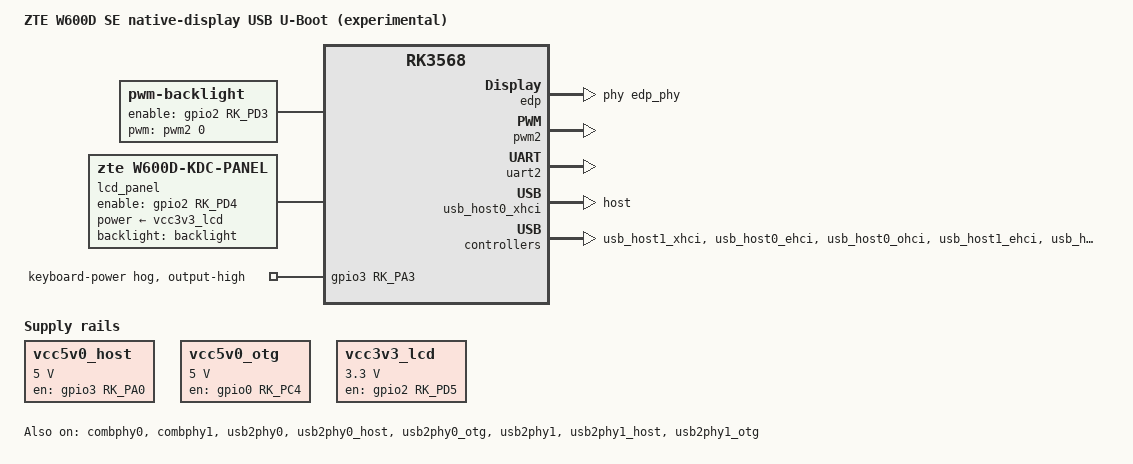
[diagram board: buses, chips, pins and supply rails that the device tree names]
/dts-v1/;
#include <dt-bindings/gpio/gpio.h>
#include <dt-bindings/pinctrl/rockchip.h>
#include "rk3568.dtsi"

/ {
	model = "ZTE W600D SE native-display USB U-Boot (experimental)";
	compatible = "zte,w600d-se", "rockchip,rk3568";

	chosen {
		stdout-path = "serial2:115200n8";
	};

	reserved-memory {
		#address-cells = <2>;
		#size-cells = <2>;
		ranges;

		optee@8400000 {
			reg = <0 0x08400000 0 0x01000000>;
			no-map;
		};
	};

	vcc5v0_host: regulator-vcc5v0-host {
		compatible = "regulator-fixed";
		regulator-name = "vcc5v0_host";
		regulator-min-microvolt = <5000000>;
		regulator-max-microvolt = <5000000>;
		gpio = <&gpio3 RK_PA0 GPIO_ACTIVE_HIGH>;
		enable-active-high;
		regulator-always-on;
		pinctrl-names = "default";
		pinctrl-0 = <&vcc5v0_host_en>;
	};

	vcc5v0_otg: regulator-vcc5v0-otg {
		compatible = "regulator-fixed";
		regulator-name = "vcc5v0_otg";
		regulator-min-microvolt = <5000000>;
		regulator-max-microvolt = <5000000>;
		gpio = <&gpio0 RK_PC4 GPIO_ACTIVE_HIGH>;
		enable-active-high;
		regulator-always-on;
		pinctrl-names = "default";
		pinctrl-0 = <&vcc5v0_otg_en>;
	};

	vcc3v3_lcd: regulator-vcc3v3-lcd {
		compatible = "regulator-fixed";
		regulator-name = "vcc3v3_lcd";
		regulator-min-microvolt = <3300000>;
		regulator-max-microvolt = <3300000>;
		gpio = <&gpio2 RK_PD5 GPIO_ACTIVE_HIGH>;
		enable-active-high;
		pinctrl-names = "default";
		pinctrl-0 = <&lcd_power_en>;
	};

	backlight: backlight {
		compatible = "pwm-backlight";
		pwms = <&pwm2 0 25000 0>;
		enable-gpios = <&gpio2 RK_PD3 GPIO_ACTIVE_HIGH>;
		brightness-levels = <0 200 255>;
		default-brightness-level = <1>;
		pinctrl-names = "default";
		pinctrl-0 = <&backlight_en>;
	};

	lcd_panel: panel {
		compatible = "zte,w600d-kdc-panel";
		power-supply = <&vcc3v3_lcd>;
		enable-gpios = <&gpio2 RK_PD4 GPIO_ACTIVE_HIGH>;
		backlight = <&backlight>;
		pinctrl-names = "default";
		pinctrl-0 = <&lcd_enable>;

		display-timings {
			native-mode = <&panel_timing>;
			panel_timing: timing {
				clock-frequency = <141020000>;
				hactive = <1920>;
				vactive = <1080>;
				hfront-porch = <48>;
				hsync-len = <32>;
				hback-porch = <80>;
				vfront-porch = <10>;
				vsync-len = <12>;
				vback-porch = <28>;
				hsync-active = <0>;
				vsync-active = <0>;
			};
		};
	};

	edp_phy: edp-phy@fdcb0000 {
		compatible = "rockchip,rk3568-edp-phy";
		reg = <0 0xfdcb0000 0 0x8000>;
		resets = <&cru SRST_P_EDPPHY_GRF>;
		reset-names = "apb";
		#phy-cells = <0>;
	};

	edp: edp@fe0c0000 {
		compatible = "rockchip,rk3568-edp";
		reg = <0 0xfe0c0000 0 0x10000>;
		resets = <&cru SRST_EDP_24M>, <&cru SRST_P_EDP_CTRL>;
		reset-names = "dp", "apb";
		phys = <&edp_phy>;
		phy-names = "dp";
		rockchip,panel = <&lcd_panel>;
		force-hpd;
	};

	native_display: display@fe040000 {
		compatible = "zte,w600d-vop2-native";
		reg = <0 0xfe040000 0 0x3000>,
		      <0 0xfdd20000 0 0x1000>,
		      <0 0xfdd00000 0 0x1000>,
		      <0 0xfdd90000 0 0x1000>,
		      <0 0xfe043e00 0 0x100>,
		      <0 0xfe043f00 0 0x100>;
		reg-names = "vop", "cru", "pmucru", "pmu", "iommu0", "iommu1";
		clocks = <&cru PLL_VPLL>, <&cru DCLK_VOP1>, <&cru ACLK_VOP>;
		clock-names = "vpll", "dclk", "aclk";
		resets = <&cru SRST_A_VOP_NIU>, <&cru SRST_A_VOP>,
			 <&cru SRST_H_VOP>, <&cru SRST_VOP0>,
			 <&cru SRST_VOP1>, <&cru SRST_VOP2>;
		rockchip,panel = <&lcd_panel>;
		rockchip,edp = <&edp>;
	};
};

&gpio3 {
	pinctrl-names = "default";
	pinctrl-0 = <&keyboard_power>;

	keyboard-power-hog {
		gpio-hog;
		gpios = <RK_PA3 GPIO_ACTIVE_HIGH>;
		output-high;
		line-name = "keyboard-power";
	};
};

&pinctrl {
	keyboard {
		keyboard_power: keyboard-power {
			rockchip,pins = <3 RK_PA3 RK_FUNC_GPIO &pcfg_pull_none>;
		};
	};
	lcd {
		lcd_power_en: lcd-power-en {
			rockchip,pins = <2 RK_PD5 RK_FUNC_GPIO &pcfg_pull_none>;
		};
		lcd_enable: lcd-enable {
			rockchip,pins = <2 RK_PD4 RK_FUNC_GPIO &pcfg_pull_none>;
		};
		backlight_en: backlight-en {
			rockchip,pins = <2 RK_PD3 RK_FUNC_GPIO &pcfg_pull_none>;
		};
	};
	usb {
		vcc5v0_host_en: vcc5v0-host-en {
			rockchip,pins = <3 RK_PA0 RK_FUNC_GPIO &pcfg_pull_none>;
		};
		vcc5v0_otg_en: vcc5v0-otg-en {
			rockchip,pins = <0 RK_PC4 RK_FUNC_GPIO &pcfg_pull_none>;
		};
	};
};

&pwm2 {
	pinctrl-names = "default";
	pinctrl-0 = <&pwm2m1_pins>;
	status = "okay";
};

&uart2 {
	status = "okay";
};

&combphy0 { status = "okay"; };
&combphy1 { status = "okay"; };
&usb_host0_xhci { dr_mode = "host"; status = "okay"; };
&usb_host1_xhci { status = "okay"; };
&usb_host0_ehci { status = "okay"; };
&usb_host0_ohci { status = "okay"; };
&usb_host1_ehci { status = "okay"; };
&usb_host1_ohci { status = "okay"; };
&usb2phy0 { status = "okay"; };
&usb2phy0_host { phy-supply = <&vcc5v0_otg>; status = "okay"; };
&usb2phy0_otg { phy-supply = <&vcc5v0_otg>; status = "okay"; };
&usb2phy1 { status = "okay"; };
&usb2phy1_host { phy-supply = <&vcc5v0_host>; status = "okay"; };
&usb2phy1_otg { phy-supply = <&vcc5v0_host>; status = "okay"; };
